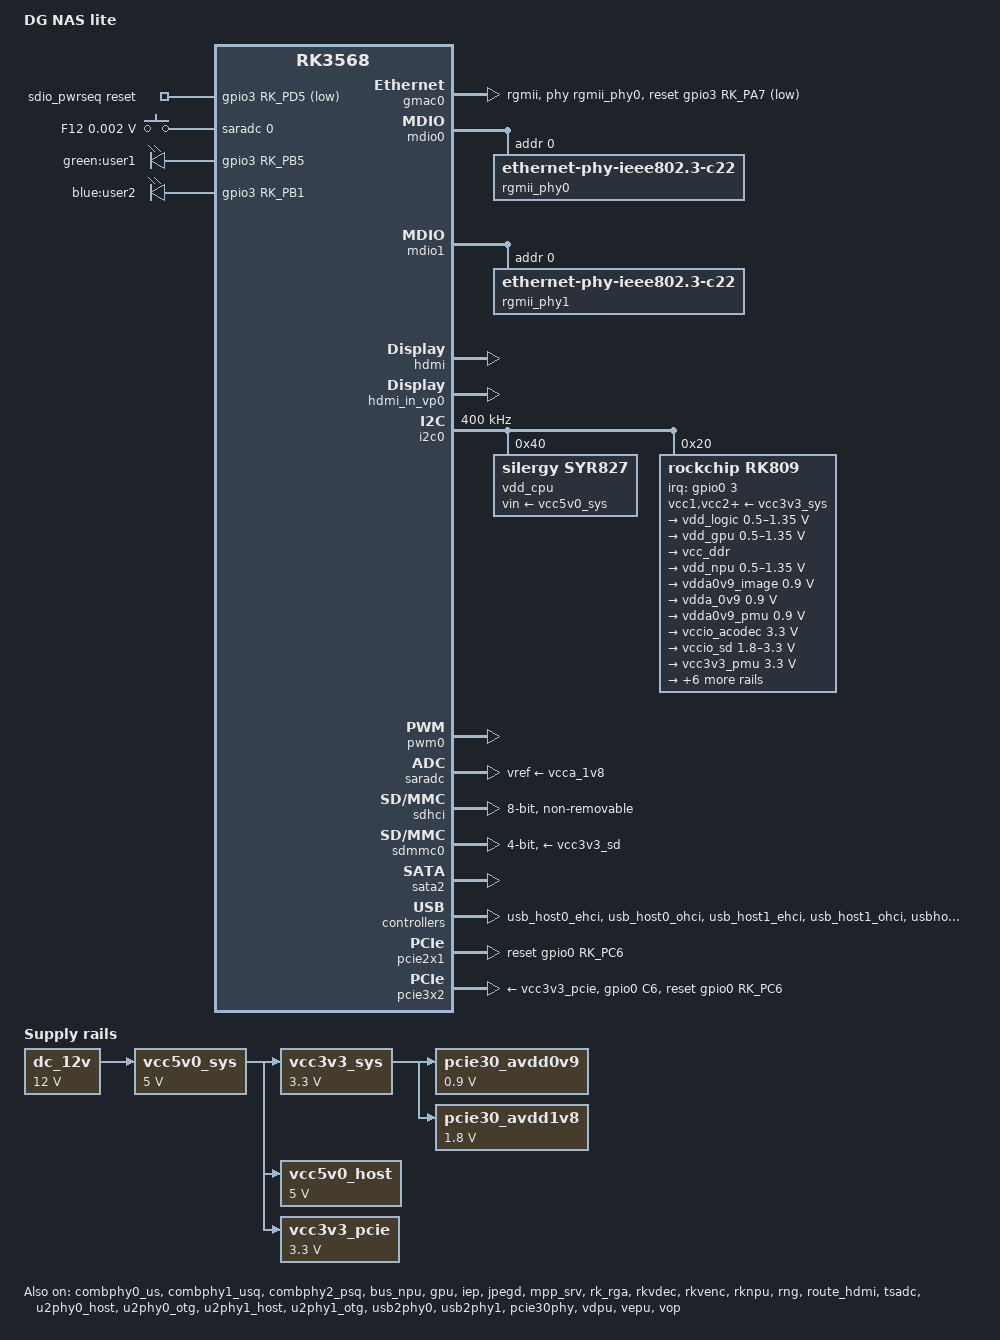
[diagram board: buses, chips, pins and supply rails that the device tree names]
// SPDX-License-Identifier: (GPL-2.0+ OR MIT)
/*
 * Copyright (c) 2020 Rockchip Electronics Co., Ltd.
 *
 */

/dts-v1/;

#include <dt-bindings/gpio/gpio.h>
#include <dt-bindings/pinctrl/rockchip.h>
#include <dt-bindings/pwm/pwm.h>
#include <dt-bindings/input/rk-input.h>
#include <dt-bindings/display/drm_mipi_dsi.h>
#include <dt-bindings/display/rockchip_vop.h>
#include <dt-bindings/sensor-dev.h>
#include "rk3568.dtsi"

/ {
	model = "DG NAS lite";
	compatible = "DG,nas-lite", "rockchip,rk3568";

	aliases {
		mmc0 = &sdmmc0;
		mmc1 = &sdhci;

		ethernet0 = &gmac0;
		ethernet1 = &gmac1;

		led-boot = &led_user_1;
		led-failsafe = &led_user_1;
		led-running = &led_user_1;
		led-upgrade = &led_user_1;
	};

	chosen: chosen {
		bootargs = "earlycon=uart8250,mmio32,0xfe660000 console=ttyFIQ0 root=PARTUUID=614e0000-0000 rw rootwait";
	};

	fiq-debugger {
		compatible = "rockchip,fiq-debugger";
		rockchip,serial-id = <2>;
		rockchip,wake-irq = <0>;
		/* If enable uart uses irq instead of fiq */
		rockchip,irq-mode-enable = <1>;
		rockchip,baudrate = <1500000>;  /* Only 115200 and 1500000 */
		interrupts = <GIC_SPI 252 IRQ_TYPE_LEVEL_LOW>;
		pinctrl-names = "default";
		pinctrl-0 = <&uart2m0_xfer>;
		status = "okay";
	};

	debug: debug@fd904000 {
		compatible = "rockchip,debug";
		reg = <0x0 0xfd904000 0x0 0x1000>,
			<0x0 0xfd905000 0x0 0x1000>,
			<0x0 0xfd906000 0x0 0x1000>,
			<0x0 0xfd907000 0x0 0x1000>;
	};

	cspmu: cspmu@fd90c000 {
		compatible = "rockchip,cspmu";
		reg = <0x0 0xfd90c000 0x0 0x1000>,
			<0x0 0xfd90d000 0x0 0x1000>,
			<0x0 0xfd90e000 0x0 0x1000>,
			<0x0 0xfd90f000 0x0 0x1000>;
	};

	hdmi_sound: hdmi-sound {
		compatible = "simple-audio-card";
		simple-audio-card,format = "i2s";
		simple-audio-card,mclk-fs = <128>;
		simple-audio-card,name = "rockchip,hdmi";
		status = "disabled";

		simple-audio-card,cpu {
			sound-dai = <&i2s0_8ch>;
		};
		simple-audio-card,codec {
			sound-dai = <&hdmi>;
		};
	};

	pdmics: dummy-codec {
		status = "disabled";
		compatible = "rockchip,dummy-codec";
		#sound-dai-cells = <0>;
	};

	pdm_mic_array: pdm-mic-array {
		status = "disabled";
		compatible = "simple-audio-card";
		simple-audio-card,name = "rockchip,pdm-mic-array";
		simple-audio-card,cpu {
			sound-dai = <&pdm>;
		};
		simple-audio-card,codec {
			sound-dai = <&pdmics>;
		};
	};

	rk809_sound: rk809-sound {
		status = "disabled";
		compatible = "simple-audio-card";
		simple-audio-card,format = "i2s";
		simple-audio-card,name = "rockchip,rk809-codec";
		simple-audio-card,mclk-fs = <256>;

		simple-audio-card,cpu {
			sound-dai = <&i2s1_8ch>;
		};
		simple-audio-card,codec {
			sound-dai = <&rk809_codec 0>;
		};
	};

	spdif-sound {
		status = "disabled";
		compatible = "simple-audio-card";
		simple-audio-card,name = "ROCKCHIP,SPDIF";
		simple-audio-card,cpu {
			sound-dai = <&spdif_8ch>;
		};
		simple-audio-card,codec {
			sound-dai = <&spdif_out>;
		};
	};

	spdif_out: spdif-out {
		status = "disabled";
		compatible = "linux,spdif-dit";
		#sound-dai-cells = <0>;
	};

	dc_12v: dc-12v {
		compatible = "regulator-fixed";
		regulator-name = "dc_12v";
		regulator-always-on;
		regulator-boot-on;
		regulator-min-microvolt = <12000000>;
		regulator-max-microvolt = <12000000>;
	};

	vcc5v0_sys: vcc5v0-sys {
		compatible = "regulator-fixed";
		regulator-name = "vcc5v0_sys";
		regulator-always-on;
		regulator-boot-on;
		regulator-min-microvolt = <5000000>;
		regulator-max-microvolt = <5000000>;
		vin-supply = <&dc_12v>;
	};

	vcc3v3_sys: vcc3v3-sys {
		compatible = "regulator-fixed";
		regulator-name = "vcc3v3_sys";
		regulator-always-on;
		regulator-boot-on;
		regulator-min-microvolt = <3300000>;
		regulator-max-microvolt = <3300000>;
		vin-supply = <&vcc5v0_sys>;
	};

	vcc5v0_host: vcc5v0-host {
		compatible = "regulator-fixed";
		regulator-name = "vcc5v0_host";
		regulator-always-on;
		regulator-boot-on;
		regulator-min-microvolt = <5000000>;
		regulator-max-microvolt = <5000000>;
		vin-supply = <&vcc5v0_sys>;
	};

	pcie30_avdd0v9: pcie30-avdd0v9 {
		compatible = "regulator-fixed";
		regulator-name = "pcie30_avdd0v9";
		regulator-always-on;
		regulator-boot-on;
		regulator-min-microvolt = <900000>;
		regulator-max-microvolt = <900000>;
		vin-supply = <&vcc3v3_sys>;
	};

	pcie30_avdd1v8: pcie30-avdd1v8 {
		compatible = "regulator-fixed";
		regulator-name = "pcie30_avdd1v8";
		regulator-always-on;
		regulator-boot-on;
		regulator-min-microvolt = <1800000>;
		regulator-max-microvolt = <1800000>;
		vin-supply = <&vcc3v3_sys>;
	};

	vcc3v3_pcie: vcc3v3_pi6c: vcc3v3-pcie {
		compatible = "regulator-fixed";
		regulator-always-on;
		regulator-boot-on;
		regulator-name = "vcc3v3_pcie";
		regulator-min-microvolt = <3300000>;
		regulator-max-microvolt = <3300000>;
		vin-supply = <&vcc5v0_sys>;
	};
	
	sdio_pwrseq: sdio-pwrseq {
		compatible = "mmc-pwrseq-simple";
		clocks = <&rk809 1>;
		clock-names = "ext_clock";
		pinctrl-names = "default";
		pinctrl-0 = <&wifi_enable_h>;
		reset-gpios = <&gpio3 RK_PD5 GPIO_ACTIVE_LOW>;
		post-power-on-delay-ms = <100>;
	};
	
	adc_keys: adc-keys {
		compatible = "adc-keys";
		io-channels = <&saradc 0>;
		io-channel-names = "buttons";
		keyup-threshold-microvolt = <1800000>;
		poll-interval = <100>;

		recovery-key {
			label = "F12";
			linux,code = <KEY_F12>;
			press-threshold-microvolt = <1750>;
		};

	};

	leds {
		compatible = "gpio-leds";
		pinctrl-names = "default";
		pinctrl-0 = <&led_user_1>, <&led_user_2>;

		led-user1 {
			label = "green:user1";
			gpios = <&gpio3 RK_PB5 GPIO_ACTIVE_HIGH>;
			linux,default-trigger = "heartbeat";
		};

		led-user2 {
			label = "blue:user2";
			gpios = <&gpio3 RK_PB1 GPIO_ACTIVE_HIGH>;
		};
	};

};

&gmac0 {
	phy-mode = "rgmii";
	clock_in_out = "output";

	snps,reset-gpio = <&gpio3 RK_PA7 GPIO_ACTIVE_LOW>;
	snps,reset-active-low;
	/* Reset time is 20ms, 100ms for rtl8211f */
	snps,reset-delays-us = <0 20000 100000>;

	assigned-clocks = <&cru SCLK_GMAC0_RX_TX>, <&cru SCLK_GMAC0>;
	assigned-clock-parents = <&cru SCLK_GMAC0_RGMII_SPEED>, <&cru CLK_MAC0_2TOP>;
	assigned-clock-rates = <0>, <125000000>;

	pinctrl-names = "default";
	pinctrl-0 = <&gmac0_miim
		     &gmac0_tx_bus2
		     &gmac0_rx_bus2
		     &gmac0_rgmii_clk
		     &gmac0_rgmii_bus>;

	tx_delay = <0x3c>;
	rx_delay = <0x2f>;

	phy-handle = <&rgmii_phy0>;
	status = "okay";
};


&mdio0 {
	rgmii_phy0: phy@0 {
		compatible = "ethernet-phy-ieee802.3-c22";
		reg = <0x0>;
	};
};

&mdio1 {
	rgmii_phy1: phy@0 {
		compatible = "ethernet-phy-ieee802.3-c22";
		reg = <0x0>;
	};
};

&combphy0_us {
	status = "okay";
};

&combphy1_usq {
	status = "okay";
};

&combphy2_psq {
	status = "okay";
};

&dfi {
	status = "disabled";
};

&dmc {
	status = "disabled";
};

&bus_npu {
	bus-supply = <&vdd_logic>;
	pvtm-supply = <&vdd_cpu>;
	status = "okay";
};

&cpu0 {
	cpu-supply = <&vdd_cpu>;
};

&dsi0 {
	status = "disabled";
};

&dsi1 {
	status = "disabled";
};

&gpu {
	mali-supply = <&vdd_gpu>;
	status = "okay";
};

&hdmi {
	status = "okay";
	rockchip,phy-table =
		<92812500  0x8009 0x0000 0x0270>,
		<165000000 0x800b 0x0000 0x026d>,
		<185625000 0x800b 0x0000 0x01ed>,
		<297000000 0x800b 0x0000 0x01ad>,
		<594000000 0x8029 0x0000 0x0088>,
		<000000000 0x0000 0x0000 0x0000>;
};

&hdmi_in_vp0 {
	status = "okay";
};

&hdmi_in_vp1 {
	status = "disabled";
};

&hdmi_sound {
	status = "okay";
};

&i2c0 {
	status = "okay";
	i2c-scl-rising-time-ns = <160>;
	i2c-scl-falling-time-ns = <30>;
	clock-frequency = <400000>;

	vdd_cpu: regulator@40 {
		compatible = "silergy,syr827";
		reg = <0x40>;
		regulator-compatible = "fan53555-reg";
		fcs,suspend-voltage-selector = <1>;
		regulator-name = "vdd_cpu";
		regulator-always-on;
		regulator-boot-on;
		regulator-min-microvolt = <712500>;
		regulator-max-microvolt = <1390000>;
		regulator-ramp-delay = <2300>;
		vin-supply = <&vcc5v0_sys>;

		regulator-state-mem {
			regulator-off-in-suspend;
		};
	};

	rk809: pmic@20 {
		compatible = "rockchip,rk809";
		reg = <0x20>;
		interrupt-parent = <&gpio0>;
		interrupts = <3 IRQ_TYPE_LEVEL_LOW>;

		pinctrl-names = "default", "pmic-sleep",
				"pmic-power-off", "pmic-reset";
		pinctrl-0 = <&pmic_int>;
		pinctrl-1 = <&soc_slppin_slp>, <&rk817_slppin_slp>;
		pinctrl-2 = <&soc_slppin_gpio>, <&rk817_slppin_pwrdn>;
		pinctrl-3 = <&soc_slppin_gpio>, <&rk817_slppin_rst>;

		rockchip,system-power-controller;
		wakeup-source;
		#clock-cells = <1>;
		clock-output-names = "rk808-clkout1", "rk808-clkout2";
		//fb-inner-reg-idxs = <2>;
		/* 1: rst regs (default in codes), 0: rst the pmic */
		pmic-reset-func = <0>;
		/* not save the PMIC_POWER_EN register in uboot */
		not-save-power-en = <1>;

		vcc1-supply = <&vcc3v3_sys>;
		vcc2-supply = <&vcc3v3_sys>;
		vcc3-supply = <&vcc3v3_sys>;
		vcc4-supply = <&vcc3v3_sys>;
		vcc5-supply = <&vcc3v3_sys>;
		vcc6-supply = <&vcc3v3_sys>;
		vcc7-supply = <&vcc3v3_sys>;
		vcc8-supply = <&vcc3v3_sys>;
		vcc9-supply = <&vcc3v3_sys>;

		pwrkey {
			status = "okay";
		};

		pinctrl_rk8xx: pinctrl_rk8xx {
			gpio-controller;
			#gpio-cells = <2>;

			rk817_slppin_null: rk817_slppin_null {
				pins = "gpio_slp";
				function = "pin_fun0";
			};

			rk817_slppin_slp: rk817_slppin_slp {
				pins = "gpio_slp";
				function = "pin_fun1";
			};

			rk817_slppin_pwrdn: rk817_slppin_pwrdn {
				pins = "gpio_slp";
				function = "pin_fun2";
			};

			rk817_slppin_rst: rk817_slppin_rst {
				pins = "gpio_slp";
				function = "pin_fun3";
			};
		};

		regulators {
			vdd_logic: DCDC_REG1 {
				regulator-always-on;
				regulator-boot-on;
				regulator-min-microvolt = <500000>;
				regulator-max-microvolt = <1350000>;
				regulator-init-microvolt = <900000>;
				regulator-ramp-delay = <6001>;
				regulator-initial-mode = <0x2>;
				regulator-name = "vdd_logic";
				regulator-state-mem {
					regulator-off-in-suspend;
				};
			};

			vdd_gpu: DCDC_REG2 {
				regulator-always-on;
				regulator-boot-on;
				regulator-min-microvolt = <500000>;
				regulator-max-microvolt = <1350000>;
				regulator-init-microvolt = <900000>;
				regulator-ramp-delay = <6001>;
				regulator-initial-mode = <0x2>;
				regulator-name = "vdd_gpu";
				regulator-state-mem {
					regulator-off-in-suspend;
				};
			};

			vcc_ddr: DCDC_REG3 {
				regulator-always-on;
				regulator-boot-on;
				regulator-initial-mode = <0x2>;
				regulator-name = "vcc_ddr";
				regulator-state-mem {
					regulator-on-in-suspend;
				};
			};

			vdd_npu: DCDC_REG4 {
				regulator-always-on;
				regulator-boot-on;
				regulator-min-microvolt = <500000>;
				regulator-max-microvolt = <1350000>;
				regulator-init-microvolt = <900000>;
				regulator-ramp-delay = <6001>;
				regulator-initial-mode = <0x2>;
				regulator-name = "vdd_npu";
				regulator-state-mem {
					regulator-off-in-suspend;
				};
			};

			vdda0v9_image: LDO_REG1 {
				regulator-min-microvolt = <900000>;
				regulator-max-microvolt = <900000>;
				regulator-name = "vdda0v9_image";
				regulator-state-mem {
					regulator-off-in-suspend;
				};
			};

			vdda_0v9: LDO_REG2 {
				regulator-always-on;
				regulator-boot-on;
				regulator-min-microvolt = <900000>;
				regulator-max-microvolt = <900000>;
				regulator-name = "vdda_0v9";
				regulator-state-mem {
					regulator-off-in-suspend;
				};
			};

			vdda0v9_pmu: LDO_REG3 {
				regulator-always-on;
				regulator-boot-on;
				regulator-min-microvolt = <900000>;
				regulator-max-microvolt = <900000>;
				regulator-name = "vdda0v9_pmu";
				regulator-state-mem {
					regulator-on-in-suspend;
					regulator-suspend-microvolt = <900000>;
				};
			};

			vccio_acodec: LDO_REG4 {
				regulator-always-on;
				regulator-boot-on;
				regulator-min-microvolt = <3300000>;
				regulator-max-microvolt = <3300000>;
				regulator-name = "vccio_acodec";
				regulator-state-mem {
					regulator-off-in-suspend;
				};
			};

			vccio_sd: LDO_REG5 {
				regulator-always-on;
				regulator-boot-on;
				regulator-min-microvolt = <1800000>;
				regulator-max-microvolt = <3300000>;
				regulator-name = "vccio_sd";
				regulator-state-mem {
					regulator-off-in-suspend;
				};
			};

			vcc3v3_pmu: LDO_REG6 {
				regulator-always-on;
				regulator-boot-on;
				regulator-min-microvolt = <3300000>;
				regulator-max-microvolt = <3300000>;
				regulator-name = "vcc3v3_pmu";
				regulator-state-mem {
					regulator-on-in-suspend;
					regulator-suspend-microvolt = <3300000>;
				};
			};

			vcca_1v8: LDO_REG7 {
				regulator-always-on;
				regulator-boot-on;
				regulator-min-microvolt = <1800000>;
				regulator-max-microvolt = <1800000>;
				regulator-name = "vcca_1v8";
				regulator-state-mem {
					regulator-off-in-suspend;
				};
			};

			vcca1v8_pmu: LDO_REG8 {
				regulator-always-on;
				regulator-boot-on;
				regulator-min-microvolt = <1800000>;
				regulator-max-microvolt = <1800000>;
				regulator-name = "vcca1v8_pmu";
				regulator-state-mem {
					regulator-on-in-suspend;
					regulator-suspend-microvolt = <1800000>;
				};
			};

			vcca1v8_image: LDO_REG9 {
				regulator-min-microvolt = <1800000>;
				regulator-max-microvolt = <1800000>;
				regulator-name = "vcca1v8_image";
				regulator-state-mem {
					regulator-off-in-suspend;
				};
			};

			vcc_1v8: DCDC_REG5 {
				regulator-always-on;
				regulator-boot-on;
				regulator-min-microvolt = <1800000>;
				regulator-max-microvolt = <1800000>;
				regulator-name = "vcc_1v8";
				regulator-state-mem {
					regulator-off-in-suspend;
				};
			};

			vcc_3v3: SWITCH_REG1 {
				regulator-always-on;
				regulator-boot-on;
				regulator-name = "vcc_3v3";
				regulator-state-mem {
					regulator-off-in-suspend;
				};
			};

			vcc3v3_sd: SWITCH_REG2 {
				regulator-always-on;
				regulator-boot-on;
				regulator-name = "vcc3v3_sd";
				regulator-state-mem {
					regulator-off-in-suspend;
				};
			};
		};

		rk809_codec: codec {
			#sound-dai-cells = <1>;
			compatible = "rockchip,rk809-codec", "rockchip,rk817-codec";
			clocks = <&cru I2S1_MCLKOUT>;
			clock-names = "mclk";
			assigned-clocks = <&cru I2S1_MCLKOUT>, <&cru I2S1_MCLK_TX_IOE>;
			assigned-clock-rates = <12288000>;
			assigned-clock-parents = <&cru I2S1_MCLKOUT_TX>, <&cru I2S1_MCLKOUT_TX>;
			pinctrl-names = "default";
			pinctrl-0 = <&i2s1m0_mclk>;
			hp-volume = <20>;
			spk-volume = <3>;
			mic-in-differential;
			status = "disabled";
		};
	};
};

&i2c5 {
	status = "disabled";
	i2c-scl-rising-time-ns = <160>;
	i2c-scl-falling-time-ns = <30>;
	clock-frequency = <400000>;
};

&i2s0_8ch {
	status = "disabled";
};

&i2s1_8ch {
	status = "disabled";
	rockchip,clk-trcm = <1>;
	pinctrl-names = "default";
	pinctrl-0 = <&i2s1m0_sclktx
		&i2s1m0_lrcktx
		&i2s1m0_sdi0
		&i2s1m0_sdo0>;
};

&iep {
	status = "okay";
};

&iep_mmu {
	status = "okay";
};

&jpegd {
	status = "okay";
};

&jpegd_mmu {
	status = "okay";
};

&mpp_srv {
	status = "okay";
};



&pinctrl {
	leds {
		led_user_1: led_user_1 {
			rockchip,pins = <3 RK_PB5 RK_FUNC_GPIO &pcfg_pull_none>;
		};

		led_user_2: led_user_2 {
			rockchip,pins = <3 RK_PB1 RK_FUNC_GPIO &pcfg_pull_none>;
		};
	};
	pcie {
		pcie_enable_h: pcie-enable-h {
			rockchip,pins = <0 RK_PD4 RK_FUNC_GPIO &pcfg_pull_none>;
		};

		pcie_reset_h: pcie-reset-h {
			rockchip,pins = <0 RK_PC6 RK_FUNC_GPIO &pcfg_pull_none>;
		};
	};
	sdio-pwrseq {
		wifi_enable_h: wifi-enable-h {
			rockchip,pins = <3 RK_PD5 RK_FUNC_GPIO &pcfg_pull_none>;
		};
	};
	pmic {
		pmic_int: pmic_int {
			rockchip,pins = <0 RK_PA3 RK_FUNC_GPIO &pcfg_pull_up>;
		};

		soc_slppin_gpio: soc_slppin_gpio {
			rockchip,pins = <0 RK_PA2 RK_FUNC_GPIO &pcfg_output_low_pull_down>;
		};

		soc_slppin_slp: soc_slppin_slp {
			rockchip,pins = <0 RK_PA2 1 &pcfg_pull_up>;
		};

		soc_slppin_rst: soc_slppin_rst {
			rockchip,pins = <0 RK_PA2 2 &pcfg_pull_none>;
		};
	};

};

&pmu_io_domains {
	status = "okay";
	pmuio2-supply = <&vcc3v3_pmu>;
	vccio1-supply = <&vccio_acodec>;
	vccio3-supply = <&vccio_sd>;
	vccio4-supply = <&vcc_1v8>;
	vccio5-supply = <&vcc_3v3>;
	vccio6-supply = <&vcc_1v8>;
	vccio7-supply = <&vcc_3v3>;
};

&pwm0 {
	status = "okay";
};

&pwm4 {
	status = "disabled";
};

&pwm5 {
	status = "disabled";
};

&pwm7 {
	status = "disabled";

	compatible = "rockchip,remotectl-pwm";
	remote_pwm_id = <3>;
	handle_cpu_id = <1>;
	remote_support_psci = <0>;
	pinctrl-names = "default";
	pinctrl-0 = <&pwm7_pins>;
};

&reserved_memory {
	linux,cma {
		compatible = "shared-dma-pool";
		inactive;
		reusable;
		reg = <0x0 0x10000000 0x0 0x00800000>;
		linux,cma-default;
	};

	ramoops: ramoops@110000 {
		compatible = "ramoops";
		reg = <0x0 0x110000 0x0 0xf0000>;
		record-size = <0x20000>;
		console-size = <0x80000>;
		ftrace-size = <0x00000>;
		pmsg-size = <0x50000>;
	};
};

&rk_rga {
	status = "okay";
};

&rkvdec {
	status = "okay";
};

&rkvdec_mmu {
	status = "okay";
};

&rkvenc {
	venc-supply = <&vdd_logic>;
	status = "okay";
};

&rkvenc_mmu {
	status = "okay";
};

&rknpu {
	rknpu-supply = <&vdd_npu>;
	status = "okay";
};

&rknpu_mmu {
	status = "okay";
};

&rng {
	status = "okay";
};

&rockchip_suspend {
	status = "okay";
};

&route_hdmi {
	status = "okay";
	connect = <&vp0_out_hdmi>;
};

&saradc {
	status = "okay";
	vref-supply = <&vcca_1v8>;
};

&sdhci {
	bus-width = <8>;
	supports-emmc;
	non-removable;
	max-frequency = <200000000>;
	status = "okay";
};

&sdmmc0 {
	max-frequency = <150000000>;
	supports-sd;
	bus-width = <4>;
	cap-mmc-highspeed;
	cap-sd-highspeed;
	disable-wp;
	sd-uhs-sdr104;
	vmmc-supply = <&vcc3v3_sd>;
	vqmmc-supply = <&vccio_sd>;
	pinctrl-names = "default";
	pinctrl-0 = <&sdmmc0_bus4 &sdmmc0_clk &sdmmc0_cmd &sdmmc0_det>;
	status = "okay";
};

&sata2 {
	status = "okay";
};

&tsadc {
	status = "okay";
};

&u2phy0_host {
	phy-supply = <&vcc5v0_host>;
	status = "okay";
};

&u2phy0_otg {
	vbus-supply = <&vcc5v0_host>;
	status = "okay";
};

&u2phy1_host {
	phy-supply = <&vcc5v0_host>;
	status = "okay";
};

&u2phy1_otg {
	phy-supply = <&vcc5v0_host>;
	status = "okay";
};

&usb2phy0 {
	status = "okay";
};

&usb2phy1 {
	status = "okay";
};

&usb_host0_ehci {
	status = "okay";
};

&usb_host0_ohci {
	status = "okay";
};

&usb_host1_ehci {
	status = "okay";
};

&usb_host1_ohci {
	status = "okay";
};

&usbdrd_dwc3 {
	dr_mode = "otg";
	extcon = <&usb2phy0>;
	status = "disabled";
};

&usbdrd30 {
	status = "disabled";
};

&usbhost_dwc3 {
	status = "okay";
};

&usbhost30 {
	status = "okay";
};

&pcie2x1 {
	reset-gpios = <&gpio0 RK_PC6 GPIO_ACTIVE_HIGH>;
	status = "okay";
};

&pcie30phy {
	status = "okay";
};

&pcie3x2 {
	pinctrl-names = "default";
	pinctrl-0 = <&pcie_reset_h>;
	reset-gpios = <&gpio0 RK_PC6 GPIO_ACTIVE_HIGH>;
	vpcie3v3-supply = <&vcc3v3_pcie>;
	status = "okay";
};

&vad {
	rockchip,audio-src = <&i2s1_8ch>;
	rockchip,buffer-time-ms = <128>;
	rockchip,det-channel = <0>;
	rockchip,mode = <0>;
};

&vdpu {
	status = "okay";
};

&vdpu_mmu {
	status = "okay";
};

&vepu {
	status = "okay";
};

&vepu_mmu {
	status = "okay";
};

&video_phy0 {
	status = "disabled";
};

&video_phy1 {
	status = "disabled";
};

&vop {
	status = "okay";
	assigned-clocks = <&cru DCLK_VOP0>, <&cru DCLK_VOP1>;
	assigned-clock-parents = <&pmucru PLL_HPLL>, <&cru PLL_VPLL>;
	disable-win-move;
};

&vop_mmu {
	status = "okay";
};
